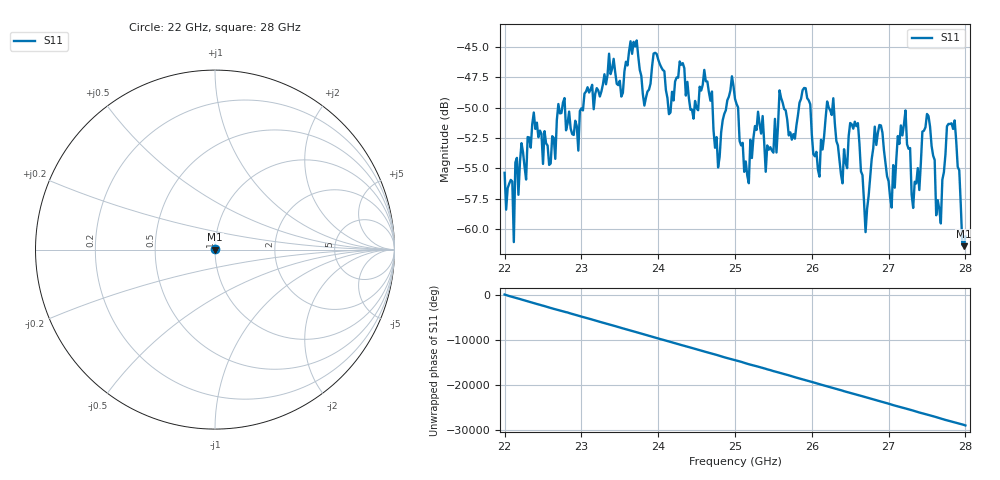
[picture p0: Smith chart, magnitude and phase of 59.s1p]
#  HZ  S  RI  R  50.00
! Rohde & Schwarz ZVA40 4Ports - Version 3.90 - 1145.1110k42 SN: 100403
! Date: 2023-10-04 06:31:09
! Measurement: S12
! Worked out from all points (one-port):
!   301 points, 22 GHz to 28 GHz, reference 50 ohm
!   lowest |S11| = -61.4 dB at 27.98 GHz (marker M1), VSWR 1.00, Z = 50 - j0.0845 ohm
!   |S11| at or under -10 dB: start of sweep to end of sweep
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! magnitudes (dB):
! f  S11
! 22 GHz  -55.4
! 22.12 GHz  -61.1
! 22.14 GHz  -54.5
! 22.22 GHz  -52.9
! 22.76 GHz  -49.6
! 23.5 GHz  -47.8
! 24.26 GHz  -47.5
! 24.6 GHz  -46.9
! 24.78 GHz  -54.9
! 25 GHz  -49.3
! 25.18 GHz  -56.2
! 25.3 GHz  -50.3
! 25.76 GHz  -52.2
! 25.92 GHz  -48.4
! 26.1 GHz  -55.7
! 26.28 GHz  -49.2
! 26.4 GHz  -56.2
! 26.5 GHz  -51.3
! 26.7 GHz  -60.2
! 26.82 GHz  -51.6
! 27.04 GHz  -58.2
! 27.26 GHz  -53.4
! 27.32 GHz  -58.2
! 27.52 GHz  -50.7
! 27.68 GHz  -59.5
! 27.86 GHz  -51.1
! 27.98 GHz  -61.4
! 28 GHz  -60.6
